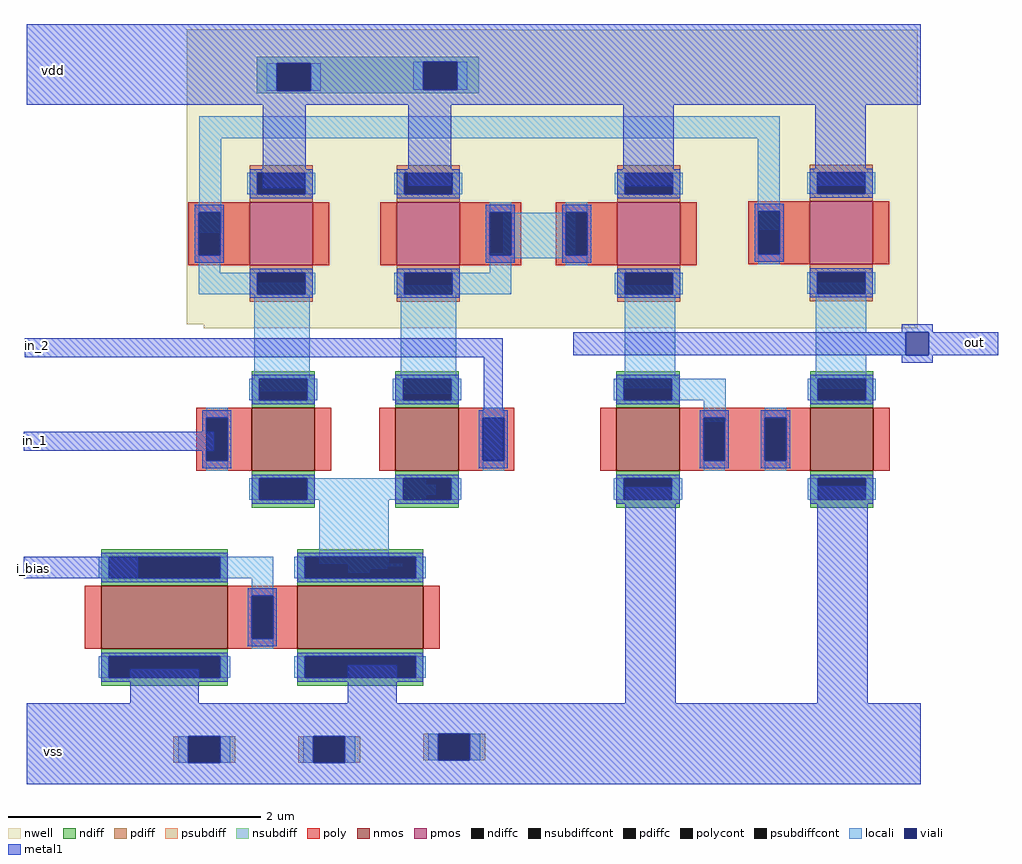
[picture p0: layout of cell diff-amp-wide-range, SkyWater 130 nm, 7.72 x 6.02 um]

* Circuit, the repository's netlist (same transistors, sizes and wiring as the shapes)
* NGSPICE file created from diff-amp-wide-range.ext - technology: sky130A

* Include SkyWater sky130 device models
.include "/home/mhasan13/pdk/skywater-pdk/libraries/sky130_fd_pr/latest/models/r+c/res_typical__cap_typical__lin.spice"
.include "/home/mhasan13/pdk/skywater-pdk/libraries/sky130_fd_pr/latest/models/r+c/res_typical__cap_typical.spice"
.include "/home/mhasan13/pdk/skywater-pdk/libraries/sky130_fd_pr/latest/models/corners/tt.spice"

* Vdd vdd gnd DC 0.7
* Vgnd vss gnd DC 0.0
* Ibias vdd i_bias DC 1n
* Vref in_2 out DC 0.0
* Vin in_1 gnd DC 0.2 

Vdd vdd gnd DC 0.7
Vgnd vss gnd DC -0.7
Ibias vdd i_bias DC 1n
Vshort in_2 out DC 0.0
Vin in_1 gnd DC PULSE(0 0.7 100p 1u 1u 10u 20u)

.subckt sky130_fd_pr__pfet_01v8_hymyl3 VSUBS a_n50_n112# a_50_n86# w_n144_n148# a_n108_n86#
X0 a_50_n86# a_n50_n112# a_n108_n86# w_n144_n148# sky130_fd_pr__pfet_01v8 w=500000u l=500000u
.ends

.subckt sky130_fd_pr__nfet_01v8_2qpbu2 VSUBS a_n108_n131# a_n50_n157# a_50_n131#
X0 a_50_n131# a_n50_n157# a_n108_n131# VSUBS sky130_fd_pr__nfet_01v8 w=1e+06u l=500000u
.ends

.subckt sky130_fd_pr__nfet_01v8_hhwku0 VSUBS a_n50_n107# a_50_n81# a_n108_n81#
X0 a_50_n81# a_n50_n107# a_n108_n81# VSUBS sky130_fd_pr__nfet_01v8 w=500000u l=500000u
.ends

.subckt diff-amp-wide-range in_1 in_2 i_bias vdd vss out
Xsky130_fd_pr__pfet_01v8_hymyl3_0 vss li_4_338# li_4_338# vdd vdd sky130_fd_pr__pfet_01v8_hymyl3
Xsky130_fd_pr__pfet_01v8_hymyl3_1 vss li_324_180# vdd vdd li_324_180# sky130_fd_pr__pfet_01v8_hymyl3
Xsky130_fd_pr__pfet_01v8_hymyl3_2 vss li_324_180# vdd vdd a_843_58# sky130_fd_pr__pfet_01v8_hymyl3
Xsky130_fd_pr__pfet_01v8_hymyl3_3 vss li_4_338# vdd vdd out sky130_fd_pr__pfet_01v8_hymyl3
Xsky130_fd_pr__nfet_01v8_2qpbu2_0 vss vss i_bias li_176_12# sky130_fd_pr__nfet_01v8_2qpbu2
Xsky130_fd_pr__nfet_01v8_2qpbu2_1 vss i_bias i_bias vss sky130_fd_pr__nfet_01v8_2qpbu2
Xsky130_fd_pr__nfet_01v8_hhwku0_0 vss in_1 li_4_338# li_176_12# sky130_fd_pr__nfet_01v8_hhwku0
Xsky130_fd_pr__nfet_01v8_hhwku0_1 vss in_2 li_176_12# li_324_180# sky130_fd_pr__nfet_01v8_hhwku0
Xsky130_fd_pr__nfet_01v8_hhwku0_2 vss a_843_58# vss a_843_58# sky130_fd_pr__nfet_01v8_hhwku0
Xsky130_fd_pr__nfet_01v8_hhwku0_3 vss a_843_58# vss out sky130_fd_pr__nfet_01v8_hhwku0
.ends

*instantiate
Xdiff in_1 in_2 i_bias vdd vss out diff-amp-wide-range

.control
* dc Vin 0 0.7 0.01
* plot  v(in_1) v(out)

tran 100n 50u
plot v(in_1) v(out)
.endc
.end

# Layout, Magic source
magic
tech sky130A
magscale 1 2
<< nwell >>
rect -15 757 494 758
rect -15 555 1143 757
rect 12 284 1143 555
<< psubdiff >>
rect -36 -404 -12 -362
rect 38 -404 62 -362
rect 162 -404 186 -362
rect 236 -404 260 -362
rect 360 -400 384 -358
rect 434 -400 458 -358
<< nsubdiff >>
rect 96 706 448 714
rect 96 704 360 706
rect 96 660 128 704
rect 182 662 360 704
rect 414 662 448 706
rect 182 660 448 662
rect 96 656 448 660
<< psubdiffcont >>
rect -12 -404 38 -362
rect 186 -404 236 -362
rect 384 -400 434 -358
<< nsubdiffcont >>
rect 128 660 182 704
rect 360 662 414 706
<< poly >>
rect 843 58 898 158
<< locali >>
rect 112 660 128 704
rect 182 660 198 704
rect 344 662 360 706
rect 414 662 430 706
rect 5 585 925 620
rect 5 435 40 585
rect 487 403 601 467
rect 890 440 925 585
rect 465 395 601 403
rect 4 372 38 395
rect 465 372 499 395
rect 4 338 89 372
rect 92 184 180 356
rect 404 352 499 372
rect 324 338 499 352
rect 324 180 412 338
rect 679 189 759 352
rect 982 278 1062 356
rect 982 241 1124 278
rect 982 204 1062 241
rect 763 170 839 204
rect 985 188 1062 204
rect 804 136 839 170
rect 176 36 364 46
rect 176 20 380 36
rect 176 12 364 20
rect 48 -110 122 -78
rect 195 -89 305 12
rect 241 -93 327 -89
rect 241 -97 303 -93
rect 241 -103 275 -97
rect 50 -112 122 -110
rect 88 -134 122 -112
rect -28 -404 -12 -362
rect 38 -404 54 -362
rect 170 -404 186 -362
rect 236 -404 252 -362
rect 368 -400 384 -358
rect 434 -400 450 -358
<< viali >>
rect 128 660 182 704
rect 360 662 414 706
rect 1124 241 1161 278
rect -12 -404 38 -362
rect 186 -404 236 -362
rect 384 -400 434 -358
<< metal1 >>
rect -268 706 1148 766
rect -268 704 360 706
rect -268 660 128 704
rect 182 662 360 704
rect 414 662 1148 706
rect 182 660 1148 662
rect -268 638 1148 660
rect 106 506 174 638
rect 336 510 404 638
rect 677 509 757 638
rect 981 510 1061 638
rect 1118 278 1167 290
rect -271 238 486 268
rect 598 241 1124 278
rect 1161 241 1271 278
rect -273 90 28 120
rect 456 76 486 238
rect 1118 229 1167 241
rect -273 -112 -92 -78
rect -104 -310 4 -256
rect 240 -310 318 -250
rect 680 -310 760 32
rect 984 -310 1064 34
rect -268 -358 1148 -310
rect -268 -362 384 -358
rect -268 -404 -12 -362
rect 38 -404 186 -362
rect 236 -400 384 -362
rect 434 -400 1148 -358
rect 236 -404 1148 -400
rect -268 -438 1148 -404
use sky130_fd_pr__nfet_01v8_2qpbu2  sky130_fd_pr__nfet_01v8_2qpbu2_1
transform 0 1 -19 -1 0 -174
box -108 -157 108 157
use sky130_fd_pr__nfet_01v8_hhwku0  sky130_fd_pr__nfet_01v8_hhwku0_0
transform 0 -1 107 1 0 108
box -108 -107 108 107
use sky130_fd_pr__nfet_01v8_2qpbu2  sky130_fd_pr__nfet_01v8_2qpbu2_0
transform 0 -1 229 1 0 -174
box -108 -157 108 157
use sky130_fd_pr__nfet_01v8_hhwku0  sky130_fd_pr__nfet_01v8_hhwku0_1
transform 0 1 397 -1 0 108
box -108 -107 108 107
use sky130_fd_pr__nfet_01v8_hhwku0  sky130_fd_pr__nfet_01v8_hhwku0_2
transform 0 1 747 -1 0 108
box -108 -107 108 107
use sky130_fd_pr__nfet_01v8_hhwku0  sky130_fd_pr__nfet_01v8_hhwku0_3
transform 0 -1 992 -1 0 108
box -108 -107 108 107
use sky130_fd_pr__pfet_01v8_hymyl3  sky130_fd_pr__pfet_01v8_hymyl3_0
transform 0 -1 99 -1 0 434
box -144 -148 144 114
use sky130_fd_pr__pfet_01v8_hymyl3  sky130_fd_pr__pfet_01v8_hymyl3_1
transform 0 1 404 1 0 434
box -144 -148 144 114
use sky130_fd_pr__pfet_01v8_hymyl3  sky130_fd_pr__pfet_01v8_hymyl3_2
transform 0 -1 681 1 0 434
box -144 -148 144 114
use sky130_fd_pr__pfet_01v8_hymyl3  sky130_fd_pr__pfet_01v8_hymyl3_3
transform 0 -1 986 1 0 435
box -144 -148 144 114
<< labels >>
flabel metal1 -264 100 -246 112 0 FreeSans 800 0 0 0 in_1
port 0 nsew
flabel metal1 -260 250 -242 262 0 FreeSans 800 0 0 0 in_2
port 1 nsew
flabel metal1 -266 -102 -248 -90 0 FreeSans 800 0 0 0 i_bias
port 2 nsew
flabel metal1 -234 686 -216 698 0 FreeSans 800 0 0 0 vdd
port 3 nsew
flabel metal1 -234 -392 -216 -380 0 FreeSans 800 0 0 0 vss
port 5 nsew
flabel metal1 1222 254 1245 268 0 FreeSans 800 0 0 0 out
port 7 nsew
<< end >>

# cell sky130_fd_pr__nfet_01v8_2qpbu2: kit device sky130_fd_pr__nfet_01v8, w 1 l 0.5 m 1 nf 1 diffcov 100 polycov 100 guard 0 glc 0 grc 0 gtc 0 gbc 0 tbcov 100 rlcov 100 topc 1 botc 0 poverlap 0 doverlap 1 lmin 0.15 wmin 0.42 compatible {sky130_fd_pr__nfet_01v8 sky130_fd_pr__nfet_01v8_lvt sky130_fd_bs_flash__special_sonosfet_star sky130_fd_pr__nfet_g5v0d10v5 sky130_fd_pr__nfet_05v0_nvt} full_metal 0 viasrc 100 viadrn 100 viagate 100 viagb 0 viagr 0 viagl 0 viagt 0

# cell sky130_fd_pr__nfet_01v8_hhwku0: kit device sky130_fd_pr__nfet_01v8, w 0.5 l 0.5 m 1 nf 1 diffcov 100 polycov 100 guard 0 glc 0 grc 0 gtc 0 gbc 0 tbcov 100 rlcov 100 topc 1 botc 0 poverlap 0 doverlap 1 lmin 0.15 wmin 0.42 compatible {sky130_fd_pr__nfet_01v8 sky130_fd_pr__nfet_01v8_lvt sky130_fd_bs_flash__special_sonosfet_star sky130_fd_pr__nfet_g5v0d10v5 sky130_fd_pr__nfet_05v0_nvt} full_metal 0 viasrc 100 viadrn 100 viagate 100 viagb 0 viagr 0 viagl 0 viagt 0

# cell sky130_fd_pr__pfet_01v8_hymyl3: kit device sky130_fd_pr__pfet_01v8, w 0.5 l 0.5 m 1 nf 1 diffcov 100 polycov 100 guard 0 glc 0 grc 0 gtc 0 gbc 0 tbcov 100 rlcov 100 topc 1 botc 0 poverlap 0 doverlap 1 lmin 0.15 wmin 0.42 compatible {sky130_fd_pr__pfet_01v8 sky130_fd_pr__pfet_01v8_lvt sky130_fd_pr__pfet_01v8_hvt sky130_fd_pr__pfet_g5v0d10v5} full_metal 0 viagl 0 viagr 0 viagt 0 viagb 0 viagate 100 viadrn 100 viasrc 100
